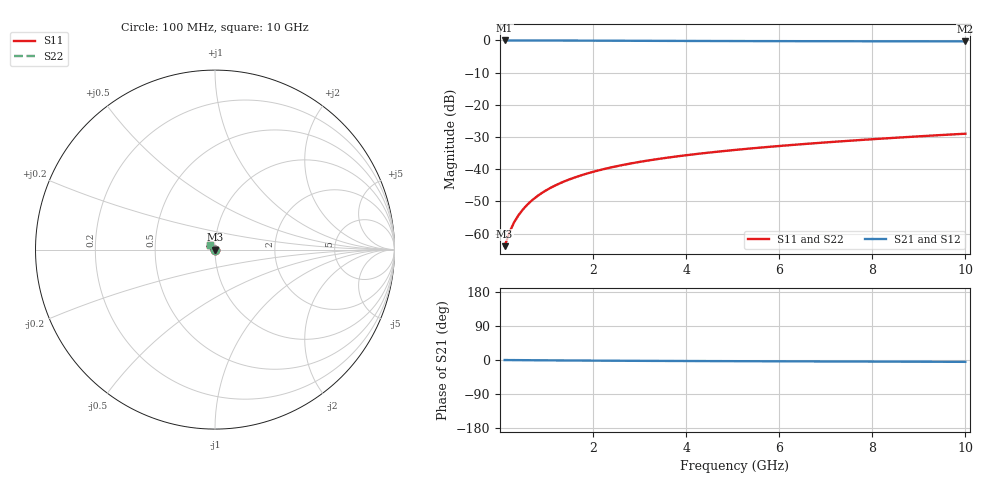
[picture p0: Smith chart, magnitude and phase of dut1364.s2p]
! Touchstone file exported from HFSS 2024.1.0
!  File:  C:/UserFiles/LocalFiles/RDL_TSV_Batchsim/temp_TSV1_1364_1780378464.aedt
!  Generated:  01:43:32 PM Jun  2, 2026
!  Design:  TSV1
!  Project:  temp_TSV1_1364_1780378464
!  Setup:  Setup1
!  Solution:  Sweep
! Variables:
!  dtsv = 5.45um
!  hbump = 3um
!  htsv = 69.5um
!  lrdl = 252.1521522um
!  p = 40
!  p1 = 50.57um
!  t = 500um
!  trdl = 3um
!  wrdl = 24.89489489um
# GHz S MA R 50.000000
! Terminal data exported
! Port[1] = TSV22_T1
! Port[2] = TSV22_T2
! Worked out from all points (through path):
!   100 points, 100 MHz to 10 GHz, reference 50 ohm
!   highest |S21| = 0.00 dB at 100 MHz (marker M1); lowest = -0.3 dB at 10 GHz (marker M2)
!   lowest |S11| = -63.9 dB at 100 MHz (marker M3), VSWR 1.00, Z = 50 - j0.0489 ohm
!   |S11| at or under -10 dB: start of sweep to end of sweep
!   |S22| runs from -63.9 to -29.0 dB; largest |S21 - S12| = 6e-15
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0.1  0.0006373 -50.1  0.9995 -0.1  0.9995 -0.1  0.0006373 -50.1
! Gamma 0 0 0 0
! Port Impedance 50 0 50 0
0.2  0.001034 -70.6  0.9995 -0.2  0.9995 -0.2  0.001034 -70.6
0.3  0.001477 -80.9  0.9994 -0.3  0.9994 -0.3  0.001477 -80.9
0.4  0.001937 -87.5  0.9992 -0.4  0.9992 -0.4  0.001937 -87.5
0.5  0.002403 -92.5  0.999 -0.5  0.999 -0.5  0.002403 -92.5
0.6  0.002871 -96.6  0.9988 -0.5  0.9988 -0.5  0.002871 -96.6
0.7  0.00334 -100.2  0.9985 -0.6  0.9985 -0.6  0.00334 -100.2
0.8  0.003807 -103.4  0.9982 -0.7  0.9982 -0.7  0.003807 -103.4
0.9  0.004272 -106.5  0.9978 -0.8  0.9978 -0.8  0.004271 -106.5
1  0.004733 -109.3  0.9975 -0.9  0.9975 -0.9  0.004733 -109.3
1.2  0.005644 -114.7  0.9967 -1.0  0.9967 -1.0  0.005644 -114.7
1.5  0.006977 -122.2  0.9953 -1.3  0.9953 -1.3  0.006977 -122.2
1.8  0.008266 -129.1  0.9938 -1.5  0.9938 -1.5  0.008266 -129.1
2.1  0.009508 -135.7  0.9922 -1.7  0.9922 -1.7  0.009508 -135.7
2.5  0.01109 -143.8  0.99 -1.9  0.99 -1.9  0.01109 -143.8
2.9  0.01261 -151.3  0.9878 -2.2  0.9878 -2.2  0.01261 -151.3
3.4  0.01441 -159.8  0.9852 -2.4  0.9852 -2.4  0.01441 -159.8
4.2  0.01714 -171.9  0.9814 -2.8  0.9814 -2.8  0.01714 -171.9
5.1  0.02007 176.8  0.978 -3.1  0.978 -3.1  0.02007 176.8
6.7  0.02512 161.0  0.9734 -3.7  0.9734 -3.7  0.02512 161.0
8.4  0.03047 148.6  0.9701 -4.3  0.9701 -4.3  0.03047 148.6
10  0.03559 139.7  0.9679 -4.9  0.9679 -4.9  0.03559 139.7
